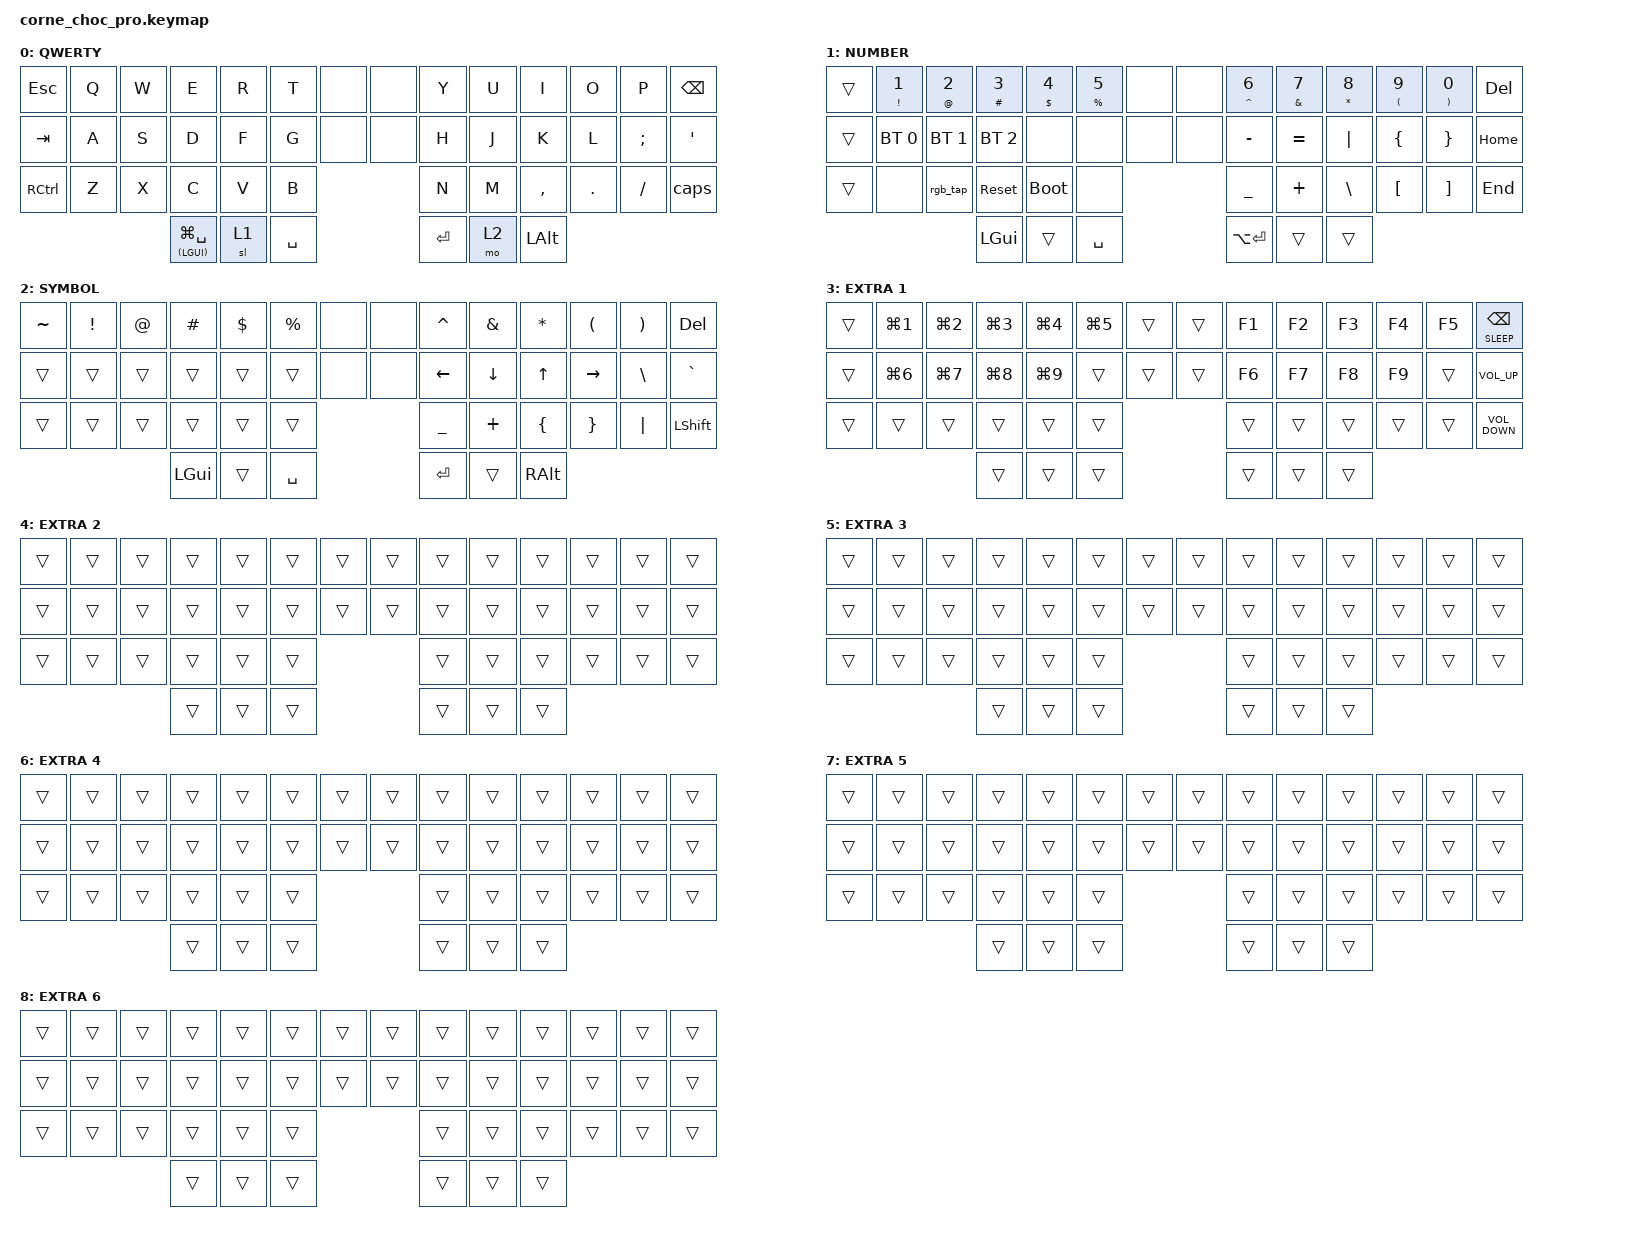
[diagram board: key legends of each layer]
/*
 * Copyright (c) 2020 The ZMK Contributors
 *
 * SPDX-License-Identifier: MIT
 */

#include <behaviors.dtsi>
#include <dt-bindings/zmk/bt.h>
#include <dt-bindings/zmk/keys.h>
#include <dt-bindings/zmk/rgb.h>

/ {
    chosen { zmk,physical-layout = &default_layout; };
};

/ {
    behaviors {
        caps: caps {
            compatible = "zmk,behavior-tap-dance";
            label = "CAPS";
            #binding-cells = <0>;
            bindings = <&kp LSHFT>, <&caps_word>;

            tapping-term-ms = <400>;
        };

        // Home row mode behaviors for numbers

        hr_1: hr_1 {
            compatible = "zmk,behavior-hold-tap";
            label = "HR_1";
            #binding-cells = <2>;
            flavor = "tap-preferred";
            tapping-term-ms = <200>;
            quick-tap-ms = <125>;
            bindings = <&kp>, <&kp>;
        };

        hr_2: hr_2 {
            compatible = "zmk,behavior-hold-tap";
            label = "HR_2";
            #binding-cells = <2>;
            flavor = "tap-preferred";
            tapping-term-ms = <200>;
            quick-tap-ms = <125>;
            bindings = <&kp>, <&kp>;
        };

        hr_3: hr_3 {
            compatible = "zmk,behavior-hold-tap";
            label = "HR_3";
            #binding-cells = <2>;
            flavor = "tap-preferred";
            tapping-term-ms = <200>;
            quick-tap-ms = <125>;
            bindings = <&kp>, <&kp>;
        };

        hr_4: hr_4 {
            compatible = "zmk,behavior-hold-tap";
            label = "HR_4";
            #binding-cells = <2>;
            flavor = "tap-preferred";
            tapping-term-ms = <200>;
            quick-tap-ms = <125>;
            bindings = <&kp>, <&kp>;
        };

        hr_5: hr_5 {
            compatible = "zmk,behavior-hold-tap";
            label = "HR_5";
            #binding-cells = <2>;
            flavor = "tap-preferred";
            tapping-term-ms = <200>;
            quick-tap-ms = <125>;
            bindings = <&kp>, <&kp>;
        };

        hr_6: hr_6 {
            compatible = "zmk,behavior-hold-tap";
            label = "HR_6";
            #binding-cells = <2>;
            flavor = "tap-preferred";
            tapping-term-ms = <200>;
            quick-tap-ms = <125>;
            bindings = <&kp>, <&kp>;
        };

        hr_7: hr_7 {
            compatible = "zmk,behavior-hold-tap";
            label = "HR_7";
            #binding-cells = <2>;
            flavor = "tap-preferred";
            tapping-term-ms = <200>;
            quick-tap-ms = <125>;
            bindings = <&kp>, <&kp>;
        };

        hr_8: hr_8 {
            compatible = "zmk,behavior-hold-tap";
            label = "HR_8";
            #binding-cells = <2>;
            flavor = "tap-preferred";
            tapping-term-ms = <200>;
            quick-tap-ms = <125>;
            bindings = <&kp>, <&kp>;
        };

        hr_9: hr_9 {
            compatible = "zmk,behavior-hold-tap";
            label = "HR_9";
            #binding-cells = <2>;
            flavor = "tap-preferred";
            tapping-term-ms = <200>;
            quick-tap-ms = <125>;
            bindings = <&kp>, <&kp>;
        };

        hr_0: hr_0 {
            compatible = "zmk,behavior-hold-tap";
            label = "HR_0";
            #binding-cells = <2>;
            flavor = "tap-preferred";
            tapping-term-ms = <200>;
            quick-tap-ms = <125>;
            bindings = <&kp>, <&kp>;
        };

        rgb_tap: rgb_tap {
            compatible = "zmk,behavior-tap-dance";
            label = "RGB_TAP";
            #binding-cells = <0>;
            bindings = <&rgb_ug RGB_TOG>, <&rgb_ug RGB_COLOR_HSB(0,0,20)>;

            tapping-term-ms = <400>;
        };
    };

    combos {
        compatible = "zmk,combos";

        combo_ctrl+shift+j {
            bindings = <&kp LC(LS(LA(DOWN)))>;
            key-positions = <23 28 39>;
            timeout-ms = <500>;
        };

        combo_ctrl+shift+k {
            bindings = <&kp LC(LS(LA(UP_ARROW)))>;
            key-positions = <28 39 24>;
            timeout-ms = <500>;
        };
    };

    keymap {
        compatible = "zmk,keymap";

        default_layer {
            display-name = "QWERTY";

            // --------------------------------------------------------------------------------
            // |  TAB |  Q  |  W  |  E  |  R  |  T  |  MUTE |  PP   |  Y  |  U   |  I  |  O  |  P  | BSPC |
            // | CTRL |  A  |  S  |  D  |  F  |  G  |  LALT |  RALT |  H  |  J   |  K  |  L  |  ;  |  '   |
            // | SHFT |  Z  |  X  |  C  |  V  |  B  |               |  N  |  M   |  ,  |  .  |  /  | ESC  |
            //                    | GUI | LWR | SPC |               | ENT | RSE  | ALT |

            bindings = <
&kp ESCAPE  &kp Q  &kp W  &kp E                 &kp R  &kp T      &none  &none  &kp Y    &kp U  &kp I      &kp O    &kp P     &kp BSPC
&kp TAB     &kp A  &kp S  &kp D                 &kp F  &kp G      &none  &none  &kp H    &kp J  &kp K      &kp L    &kp SEMI  &kp SQT
&kp RCTRL   &kp Z  &kp X  &kp C                 &kp V  &kp B                    &kp N    &kp M  &kp COMMA  &kp DOT  &kp FSLH  &caps
                          &mt (LGUI) LG(SPACE)  &sl 1  &kp SPACE                &kp RET  &mo 2  &kp LALT
            >;
        };

        lower_layer {
            display-name = "NUMBER";

            // -----------------------------------------------------------------------------------------
            // |  TAB |  1  |  2  |  3  |  4  |  5    |  LCTRL | RCTRL |  6  |  7  |  8  |  9  |  0  | BSPC |
            // | CTRL | BT1 | BT2 | BT3 | BT4 | BT5   |  LALT  | RALT  | LFT | DWN |  UP | RGT |     |      |
            // | SHFT | BTCR| RGB | RST | BOOT| Unlock|        |       |     |     |     |     |     |      |
            //                    | GUI |     | SPC   |        | ENT   |     | ALT |

            bindings = <
&trans  &hr_1 EXCL N1  &hr_2 AT N2   &hr_3 HASH N3  &hr_4 DLLR N4  &hr_5 PRCNT N5  &none  &none  &hr_6 CARET N6  &hr_7 AMPS N7  &hr_8 ASTRK N8  &hr_9 LPAR N9     &hr_0 RPAR N0      &kp DEL
&trans  &bt BT_SEL 0   &bt BT_SEL 1  &bt BT_SEL 2   &none          &none           &none  &none  &kp MINUS       &kp EQUAL      &kp PIPE        &kp LEFT_BRACE    &kp RIGHT_BRACE    &kp HOME
&trans  &none          &rgb_tap      &sys_reset     &bootloader    &none                         &kp UNDER       &kp PLUS       &kp BACKSLASH   &kp LEFT_BRACKET  &kp RIGHT_BRACKET  &kp END
                                     &kp LGUI       &trans         &kp SPACE                     &kp LA(ENTER)   &trans         &trans
            >;
        };

        raise_layer {
            display-name = "SYMBOL";

            // -----------------------------------------------------------------------------------------
            // |  TAB |  !  |  @  |  #  |  $  |  %  | LCTRL | RCTRL |  ^  |  &  |  *  |  (  |  )  | BSPC |
            // | CTRL |     |     |     |     |     |  LALT | RALT  |  -  |  =  |  [  |  ]  |  \  |  `   |
            // | SHFT |     |     |     |     |     |               |  _  |  +  |  {  |  }  | "|" |  ~   |
            //                    | GUI |     | SPC |               | ENT |     | ALT |

            bindings = <
&kp TILDE  &kp EXCL  &kp AT  &kp HASH  &kp DLLR  &kp PRCNT  &none  &none  &kp CARET  &kp AMPS  &kp ASTRK  &kp LPAR   &kp RPAR  &kp DEL
&trans     &trans    &trans  &trans    &trans    &trans     &none  &none  &kp LEFT   &kp DOWN  &kp UP     &kp RIGHT  &kp BSLH  &kp GRAVE
&trans     &trans    &trans  &trans    &trans    &trans                   &kp UNDER  &kp PLUS  &kp LBRC   &kp RBRC   &kp PIPE  &kp LEFT_SHIFT
                             &kp LGUI  &trans    &kp SPACE                &kp RET    &trans    &kp RALT
            >;
        };

        extra_layer_1 {
            display-name = "EXTRA 1";
            bindings = <
&trans  &kp LG(N1)  &kp LG(N2)  &kp LG(N3)  &kp LG(N4)  &kp LG(N5)  &trans  &trans  &kp F1  &kp F2  &kp F3  &kp F4  &kp F5  &mt K_SLEEP BACKSPACE
&trans  &kp LG(N6)  &kp LG(N7)  &kp LG(N8)  &kp LG(N9)  &trans      &trans  &trans  &kp F6  &kp F7  &kp F8  &kp F9  &trans  &kp C_VOLUME_UP
&trans  &trans      &trans      &trans      &trans      &trans                      &trans  &trans  &trans  &trans  &trans  &kp C_VOLUME_DOWN
                                &trans      &trans      &trans                      &trans  &trans  &trans
            >;
        };

        extra_layer_2 {
            display-name = "EXTRA 2";
            bindings = <
&trans  &trans  &trans  &trans  &trans  &trans  &trans  &trans  &trans  &trans  &trans  &trans  &trans  &trans
&trans  &trans  &trans  &trans  &trans  &trans  &trans  &trans  &trans  &trans  &trans  &trans  &trans  &trans
&trans  &trans  &trans  &trans  &trans  &trans                  &trans  &trans  &trans  &trans  &trans  &trans
                        &trans  &trans  &trans                  &trans  &trans  &trans
            >;
        };

        extra_layer_3 {
            display-name = "EXTRA 3";
            bindings = <
&trans  &trans  &trans  &trans  &trans  &trans  &trans  &trans  &trans  &trans  &trans  &trans  &trans  &trans
&trans  &trans  &trans  &trans  &trans  &trans  &trans  &trans  &trans  &trans  &trans  &trans  &trans  &trans
&trans  &trans  &trans  &trans  &trans  &trans                  &trans  &trans  &trans  &trans  &trans  &trans
                        &trans  &trans  &trans                  &trans  &trans  &trans
            >;
        };

        extra_layer_4 {
            display-name = "EXTRA 4";
            bindings = <
&trans  &trans  &trans  &trans  &trans  &trans  &trans  &trans  &trans  &trans  &trans  &trans  &trans  &trans
&trans  &trans  &trans  &trans  &trans  &trans  &trans  &trans  &trans  &trans  &trans  &trans  &trans  &trans
&trans  &trans  &trans  &trans  &trans  &trans                  &trans  &trans  &trans  &trans  &trans  &trans
                        &trans  &trans  &trans                  &trans  &trans  &trans
            >;
        };

        extra_layer_5 {
            display-name = "EXTRA 5";
            bindings = <
&trans  &trans  &trans  &trans  &trans  &trans  &trans  &trans  &trans  &trans  &trans  &trans  &trans  &trans
&trans  &trans  &trans  &trans  &trans  &trans  &trans  &trans  &trans  &trans  &trans  &trans  &trans  &trans
&trans  &trans  &trans  &trans  &trans  &trans                  &trans  &trans  &trans  &trans  &trans  &trans
                        &trans  &trans  &trans                  &trans  &trans  &trans
            >;
        };

        extra_layer_6 {
            display-name = "EXTRA 6";
            bindings = <
&trans  &trans  &trans  &trans  &trans  &trans  &trans  &trans  &trans  &trans  &trans  &trans  &trans  &trans
&trans  &trans  &trans  &trans  &trans  &trans  &trans  &trans  &trans  &trans  &trans  &trans  &trans  &trans
&trans  &trans  &trans  &trans  &trans  &trans                  &trans  &trans  &trans  &trans  &trans  &trans
                        &trans  &trans  &trans                  &trans  &trans  &trans
            >;
        };
    };

    conditional_layers {
        compatible = "zmk,conditional-layers";

        both {
            if-layers = <1 2>;
            then-layer = <3>;
        };
    };
};
